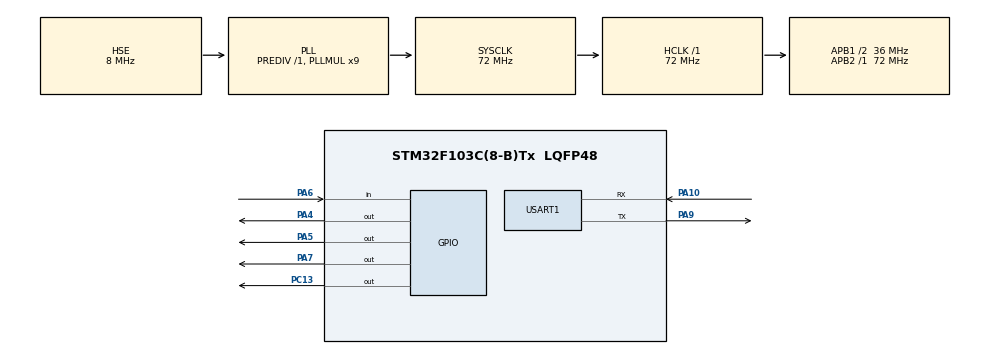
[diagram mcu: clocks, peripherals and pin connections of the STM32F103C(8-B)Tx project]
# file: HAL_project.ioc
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Mcu.Family=STM32F1
Mcu.Name=STM32F103C(8-B)Tx
Mcu.Package=LQFP48
NVIC.PriorityGroup=NVIC_PRIORITYGROUP_4
NVIC.TIM3_IRQn=true\:0\:0\:false\:false\:true\:true\:true\:true
NVIC.USART1_IRQn=true\:0\:0\:false\:false\:true\:true\:true\:true
PA10.Mode=Asynchronous
PA10.Signal=USART1_RX
PA13.Mode=Serial_Wire
PA13.Signal=SYS_JTMS-SWDIO
PA14.Mode=Serial_Wire
PA14.Signal=SYS_JTCK-SWCLK
PA4.Signal=GPIO_Output
PA5.Signal=GPIO_Output
PA6.Signal=GPIO_Input
PA7.Signal=GPIO_Output
PA9.Mode=Asynchronous
PA9.Signal=USART1_TX
PC13-TAMPER-RTC.Signal=GPIO_Output
PD0-OSC_IN.Mode=HSE-External-Oscillator
PD0-OSC_IN.Signal=RCC_OSC_IN
PD1-OSC_OUT.Mode=HSE-External-Oscillator
PD1-OSC_OUT.Signal=RCC_OSC_OUT
ProjectManager.HeapSize=0x200
ProjectManager.StackSize=0x400
ProjectManager.TargetToolchain=MDK-ARM V5
RCC.AHBFreq_Value=72000000
RCC.APB1CLKDivider=RCC_HCLK_DIV2
RCC.APB1Freq_Value=36000000
RCC.APB1TimFreq_Value=72000000
RCC.APB2Freq_Value=72000000
RCC.APB2TimFreq_Value=72000000
RCC.HCLKFreq_Value=72000000
RCC.PLLMUL=RCC_PLL_MUL9
RCC.PLLSourceVirtual=RCC_PLLSOURCE_HSE
RCC.SYSCLKFreq_VALUE=72000000
RCC.SYSCLKSource=RCC_SYSCLKSOURCE_PLLCLK
RCC.USBFreq_Value=72000000
TIM3.Period=5000 - 1
TIM3.Prescaler=72 - 1
USART1.VirtualMode=VM_ASYNC
VP_TIM3_VS_ClockSourceINT.Mode=Internal
board=custom

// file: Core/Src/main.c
/* USER CODE BEGIN Header */
/**
  ******************************************************************************
  * @file           : main.c
  * @brief          : Main program body
  ******************************************************************************
  * @attention
  *
  * Copyright (c) 2025 STMicroelectronics.
  * All rights reserved.
  *
  * This software is licensed under terms that can be found in the LICENSE file
  * in the root directory of this software component.
  * If no LICENSE file comes with this software, it is provided AS-IS.
  *
  ******************************************************************************
  */
/* USER CODE END Header */
#include "main.h"
#include "tim.h"
#include "usart.h"
#include "gpio.h"

/* USER CODE BEGIN Includes */
#include <stdio.h>
#include "BMI270.h"
/* USER CODE END Includes */

/* USER CODE BEGIN PM */
/*示例(使用定时器的方法读取数据)
硬件接线:
USART  				TX A9   RX A10
BMI270(SPI)  		SCK A5    SDI A7  SDO A6  CS A4
*/
/* USER CODE END PM */

/* USER CODE BEGIN PV */
BMI270 bmi270_ins; // 创建一个BMI270结构体对象

/* USER CODE END PV */

void SystemClock_Config(void);
/* USER CODE BEGIN PFP */
//printf重定向
int fputc(int ch, FILE *f){
	HAL_UART_Transmit(&huart1, (uint8_t *)&ch, 1, 100);
	return ch;
}
/* USER CODE END PFP */

int main(void)
{

  /* MCU Configuration--------------------------------------------------------*/

  /* Reset of all peripherals, Initializes the Flash interface and the Systick. */
  HAL_Init();

  /* Configure the system clock */
  SystemClock_Config();

  /* Initialize all configured peripherals */
  MX_GPIO_Init();
  MX_USART1_UART_Init();
  MX_TIM3_Init();
  /* USER CODE BEGIN 2 */

	if(BMI270_Init(&bmi270_ins) == -1){//初始化失败
		printf("BMI270_Init Error\n");
	}else{//初始化成功
		printf("BMI270_Init Success\n");
	}
	HAL_Delay(2000);

	HAL_TIM_Base_Start_IT(&htim3);//打开定时器中断
  /* USER CODE END 2 */

  /* Infinite loop */
  /* USER CODE BEGIN WHILE */
  while (1)
  {
		// printf("%d,%d,%d,%d,%d,%d\n", bmi270_ins.acc_x,bmi270_ins.acc_y,bmi270_ins.acc_z,bmi270_ins.gyro_x,bmi270_ins.gyro_y,bmi270_ins.gyro_z);
		// printf("%.2f\n", BMI270_get_real_temp(&bmi270_ins));//获取实际温度
		printf("%.2f,%.2f,%.2f\n", bmi270_ins.pitch,bmi270_ins.roll,bmi270_ins.yaw);//打印出欧拉角

		//获取BMI270的ID
		//printf("%d\n",BMI270_Get_ID());
		//HAL_Delay(100);

    /* USER CODE END WHILE */

  }
}

void SystemClock_Config(void)
{
  RCC_OscInitTypeDef RCC_OscInitStruct = {0};
  RCC_ClkInitTypeDef RCC_ClkInitStruct = {0};

  /** Initializes the RCC Oscillators according to the specified parameters
  * in the RCC_OscInitTypeDef structure.
  */
  RCC_OscInitStruct.OscillatorType = RCC_OSCILLATORTYPE_HSE;
  RCC_OscInitStruct.HSEState = RCC_HSE_ON;
  RCC_OscInitStruct.HSEPredivValue = RCC_HSE_PREDIV_DIV1;
  RCC_OscInitStruct.HSIState = RCC_HSI_ON;
  RCC_OscInitStruct.PLL.PLLState = RCC_PLL_ON;
  RCC_OscInitStruct.PLL.PLLSource = RCC_PLLSOURCE_HSE;
  RCC_OscInitStruct.PLL.PLLMUL = RCC_PLL_MUL9;
  if (HAL_RCC_OscConfig(&RCC_OscInitStruct) != HAL_OK)
  {
    Error_Handler();
  }

  /** Initializes the CPU, AHB and APB buses clocks
  */
  RCC_ClkInitStruct.ClockType = RCC_CLOCKTYPE_HCLK|RCC_CLOCKTYPE_SYSCLK
                              |RCC_CLOCKTYPE_PCLK1|RCC_CLOCKTYPE_PCLK2;
  RCC_ClkInitStruct.SYSCLKSource = RCC_SYSCLKSOURCE_PLLCLK;
  RCC_ClkInitStruct.AHBCLKDivider = RCC_SYSCLK_DIV1;
  RCC_ClkInitStruct.APB1CLKDivider = RCC_HCLK_DIV2;
  RCC_ClkInitStruct.APB2CLKDivider = RCC_HCLK_DIV1;

  if (HAL_RCC_ClockConfig(&RCC_ClkInitStruct, FLASH_LATENCY_2) != HAL_OK)
  {
    Error_Handler();
  }
}

/* USER CODE BEGIN 4 */
//定时器中断回调函数
void HAL_TIM_PeriodElapsedCallback(TIM_HandleTypeDef *htim)
{
    if(htim->Instance == TIM3)  // TIM2中断
    {
				BMI270_Get_Angle_Plus(&bmi270_ins);//获取角度
    }
}
/* USER CODE END 4 */

void Error_Handler(void)
{
  __disable_irq();
  while (1)
  {
  }
}
